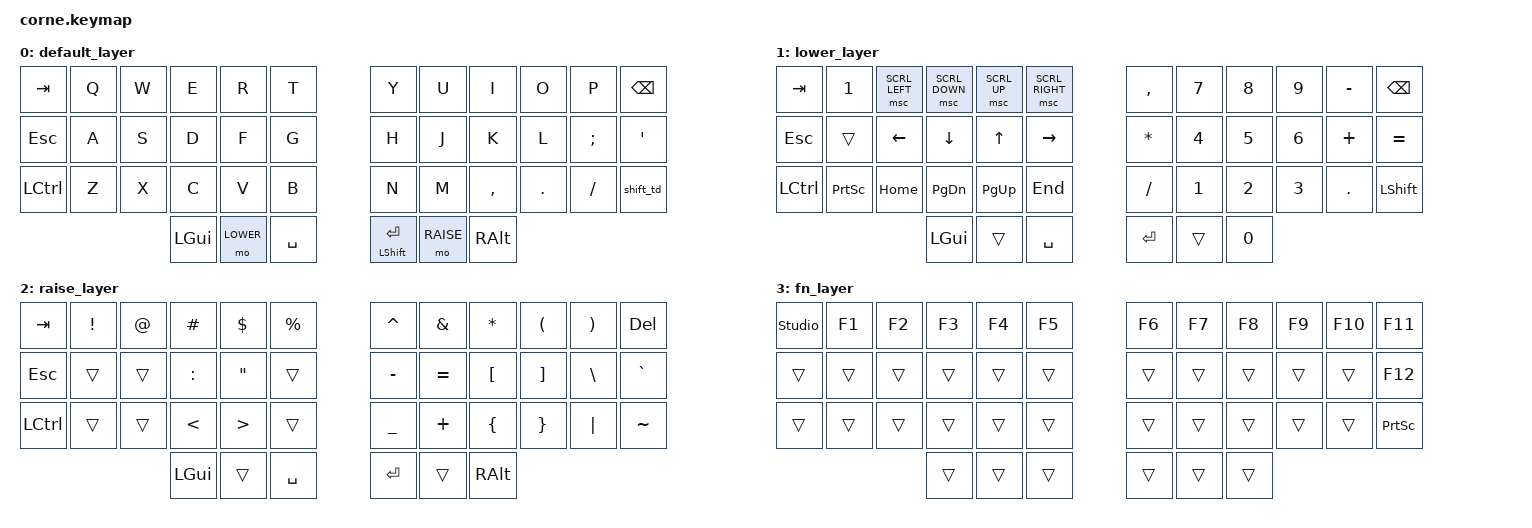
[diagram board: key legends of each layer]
/*
 * Copyright (c) 2020 The ZMK Contributors
 *
 * SPDX-License-Identifier: MIT
 */

#include <behaviors.dtsi>
#include <dt-bindings/zmk/keys.h>
#include <dt-bindings/zmk/bt.h>
#include <dt-bindings/zmk/pointing.h>

#define BASE 0
#define LOWER 1
#define RAISE 2
#define FN 3

#define ZMK_POINTING_DEFAULT_SCRL_VAL 70



/ {
        conditional_layers {
            compatible = "zmk,conditional-layers";
        
            tri_layer {
                if-layers = <LOWER RAISE>;
                then-layer = <FN>;
            };
        };
        behaviors {
                shift_td: shift_td {
                        compatible = "zmk,behavior-tap-dance";
                        #binding-cells = <0>;
                        tapping-term-ms = <200>;
                        bindings = <&kp LSHIFT>, <&kp CAPS>;
                };

                mt: mod_tap {
                    compatible = "zmk,behavior-hold-tap";
                    #binding-cells = <2>;
                    flavor = "balanced";
                    tapping-term-ms = <200>;
                    bindings = <&kp>, <&kp>;
                    display-name = "Mod-Tap";
                };

        };

        macros {
                not_equal_macro: not_equal_macro {
                    compatible = "zmk,behavior-macro";
                    #binding-cells = <0>;
                    bindings = <&macro_tap &kp EXCL &kp EQUAL>;
                };

                arrow_to_right: arrow_to_right {
                    compatible = "zmk,behavior-macro";
                    #binding-cells = <0>;
                    bindings = <&macro_tap &kp MINUS &kp GT>;
                };
            };

        combos {
            compatible = "zmk,combos";
                timeout-ms = <5>;
                require-prior-idle-ms = <30>;

            // U + I => (
            combo_paren_l {
                bindings = <&kp LPAR>;
                key-positions = <7 8>;
            };
        
            // I + O => )
            combo_paren_r {
                bindings = <&kp RPAR>;
                key-positions = <8 9>;
            };
        
            // J + K => [
            combo_bracket_l {
                bindings = <&kp LBKT>;
                key-positions = <19 20>;
            };
        
            // K + L => ]
            combo_bracket_r {
                bindings = <&kp RBKT>;
                key-positions = <20 21>;
            };
        
            // M + , => {
            combo_brace_l {
                bindings = <&kp LBRC>;
                key-positions = <31 32>;
            };
        
            // , + . => }
            combo_brace_r {
                bindings = <&kp RBRC>;
                key-positions = <32 33>;
            };

            // z + x => backspace
                combo_backspace {
                bindings = <&kp BSPC>;
                key-positions = <25 26>;
                };

            // x + c => delete
                combo_delete {
                bindings = <&kp DEL>;
                key-positions = <26 27>;
                };

            // c + v => shift
                combo_shift {
                bindings = <&kp LSHIFT>;
                key-positions = <27 28>;
                };

            // v + b => enter
                combo_enter {
                bindings = <&kp RET>;
                key-positions = <28 29>;
                };

            // y + u => "
                combo_SQT {
                bindings = <&kp DQT>;
                key-positions = <6 7>;
                };

            // h + j => <
                combo_LT {
                bindings = <&kp LT>;
                key-positions = <18 19>;
                };

            // n + m => >
                combo_GT {
                bindings = <&kp GT>;
                key-positions = <30 31>;
                };

            // l + ; => :
                combo_COLON {
                bindings = <&kp COLON>;
                key-positions = <21 22>;
                };

            // q + j => !=
                combo_NOTEQUAL {
                bindings = <&not_equal_macro>;
                key-positions = <1 19>;
                };

            // h + m => ->
                combo_ARROWTORIGHT {
                bindings = <&arrow_to_right>;
                key-positions = <18 31>;
                };
        };



        keymap {
                compatible = "zmk,keymap";

                default_layer {
// -----------------------------------------------------------------------------------------
// |  TAB |  Q  |  W  |  E  |  R  |  T  | || |  Y  |  U   |  I  |   O  |  P  |  BKSP   |
// | ESC  |  A  |  S  |  D  |  F  |  G  | || |  H  |  J   |  K  |   L  |  ;  |   '     |
// | CTRL |  Z  |  X  |  C  |  V  |  B  | || |  N  |  M   |  ,  |   .  |  /  | shift_td|
//                    | GUI | LWR | SPC | || | ENT | RSE  | ALT |
                        bindings = <
   &kp TAB     &kp Q   &kp W   &kp E   &kp R           &kp T  /**/    &kp Y  &kp U          &kp I      &kp O    &kp P      &kp BSPC
   &kp ESC     &kp A   &kp S   &kp D   &kp F           &kp G  /**/    &kp H   &kp J         &kp K      &kp L    &kp SEMI   &kp SQT
   &kp LCTRL   &kp Z   &kp X   &kp C   &kp V           &kp B  /**/    &kp N  &kp M          &kp COMMA  &kp DOT  &kp FSLH   &shift_td
                  &kp LGUI &mo LOWER &kp SPACE   &mt LSHIFT RET &mo RAISE &kp RALT
                        >;
                };
                lower_layer {
// -----------------------------------------------------------------------------------------
// |  TAB |  1  | MSC_LEFT | MSC_DWN | MSC_UP | MSC_RGT |  ||  |  ,  |  7  |  8  |  9  |  -  | BKSP |
// | ESC  |     |    LFT   |   DWN   |   UP   |   RGT   |  ||  |  *  |  4  |  5  |  6  |  +  |  =   |
// |LCTRL |PSCRN|   HOME   |  PGDWN  |  PGUP  |   END   |  ||  |  /  |  1  |  2  |  3  |  .  |LSHIFT|
//                         |   GUI   |        |   SPC   |  ||  | ENT |     |  0  |
                        bindings = <
   &kp TAB    &kp N1     &msc SCRL_LEFT  &msc SCRL_DOWN  &msc SCRL_UP   &msc SCRL_RIGHT   /**/    &kp COMMA &kp N7    &kp N8   &kp N9    &kp MINUS    &kp BSPC
   &kp ESC    &trans     &kp LEFT        &kp DOWN        &kp UP         &kp RIGHT        /**/    &kp ASTRK  &kp N4    &kp N5   &kp N6    &kp PLUS     &kp EQUAL
   &kp LCTRL  &kp PSCRN  &kp HOME        &kp PG_DN       &kp PG_UP      &kp END         /**/    &kp FSLH    &kp N1    &kp N2   &kp N3    &kp DOT   &kp LSHIFT
                                        &kp LGUI           &trans       &kp SPACE               &kp RET     &trans    &kp N0
                        >;
                };

                raise_layer {
// -----------------------------------------------------------------------------------------
// |  TAB |  !  |  @  |  #  |  $  |  %  | ||  |  ^  |  &  |  *  |  (  |  )  | DEL  |
// | ESC  |     |     |  :  |  "  |     | ||  |  -  |  =  |  [  |  ]  |  \  |  `   |
// |LCTRL |     |     |  <  |  >  |     | ||  |  _  |  +  |  {  |  }  | "|" |  ~   |
//                    | GUI |     | SPC | ||  | ENT |     | ALT |
                        bindings = <
   &kp TAB  &kp EXCL &kp AT &kp HASH &kp DLLR &kp PRCNT /**/  &kp CARET &kp AMPS  &kp ASTRK &kp LPAR &kp RPAR &kp DEL
   &kp ESC  &trans   &trans &kp COLON &kp DQT  &trans  /**/    &kp MINUS &kp EQUAL &kp LBKT  &kp RBKT &kp BSLH &kp GRAVE
   &kp LCTRL &trans  &trans &kp LT   &kp GT   &trans  /**/    &kp UNDER &kp PLUS  &kp LBRC  &kp RBRC &kp PIPE &kp TILDE
                             &kp LGUI &trans   &kp SPACE /**/  &kp RET   &trans    &kp RALT
                        >;
                };

                fn_layer {
// ----------------------------------------------------------------
// |stdio_unlock| F1   | F2  | F3  | F4  | F5  | ||  | F6  | F7  | F8  | F9 | F10  | F11 |
// |            |      |     |     |     |     | ||  |     |     |     |     |     | F12 |
// |            |      |     |     |     |     | ||  |     |     |     |     |     |PSCRN|
//               |     |     |     |   | ||  |     |     |
        bindings = <
  &studio_unlock &kp F1 &kp F2 &kp F3 &kp F4 &kp F5      &kp F6 &kp F7 &kp F8 &kp F9 &kp F10 &kp F11
  &trans         &trans &trans &trans &trans &trans      &trans &trans &trans &trans &trans &kp F12
  &trans         &trans &trans &trans &trans &trans      &trans &trans &trans &trans &trans &kp PSCRN
                     &trans &trans &trans        &trans &trans &trans
                        >;
                };
        };
};



        &msc {
            time-to-max-speed-ms = <80>;
            acceleration-exponent = <2>;
        };
